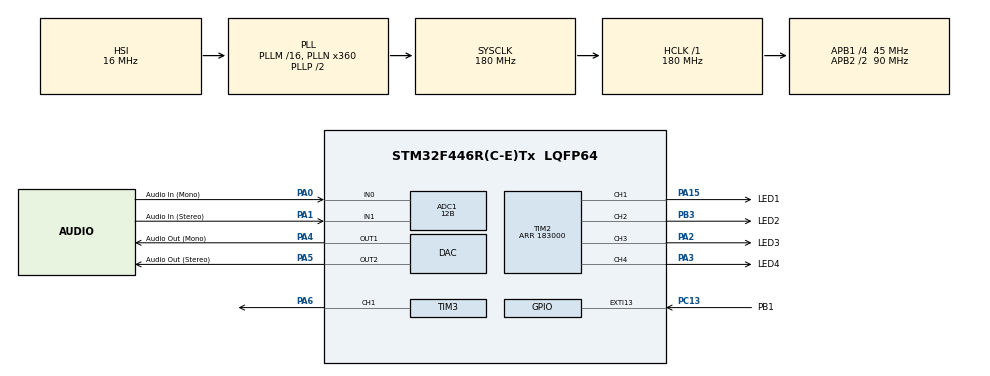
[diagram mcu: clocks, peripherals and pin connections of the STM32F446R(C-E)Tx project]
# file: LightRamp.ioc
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ADC1.Channel-0\#ChannelRegularConversion=ADC_CHANNEL_0
ADC1.ClockPrescaler=ADC_CLOCK_SYNC_PCLK_DIV4
ADC1.ContinuousConvMode=DISABLE
ADC1.DMAContinuousRequests=ENABLE
ADC1.DataAlign=ADC_DATAALIGN_LEFT
ADC1.DiscontinuousConvMode=DISABLE
ADC1.EOCSelection=ADC_EOC_SINGLE_CONV
ADC1.EnableAnalogWatchDog=false
ADC1.ExternalTrigConv=ADC_EXTERNALTRIGCONV_T3_TRGO
ADC1.ExternalTrigConvEdge=ADC_EXTERNALTRIGCONVEDGE_RISING
ADC1.InjNumberOfConversion=0
ADC1.NbrOfConversion=1
ADC1.NbrOfConversionFlag=1
ADC1.Rank-0\#ChannelRegularConversion=1
ADC1.Resolution=ADC_RESOLUTION_12B
ADC1.SamplingTime-0\#ChannelRegularConversion=ADC_SAMPLETIME_3CYCLES
ADC1.ScanConvMode=DISABLE
ADC1.master=1
Dma.ADC1.0.Direction=DMA_PERIPH_TO_MEMORY
Dma.ADC1.0.FIFOMode=DMA_FIFOMODE_DISABLE
Dma.ADC1.0.Instance=DMA2_Stream0
Dma.ADC1.0.MemDataAlignment=DMA_MDATAALIGN_WORD
Dma.ADC1.0.MemInc=DMA_MINC_ENABLE
Dma.ADC1.0.Mode=DMA_CIRCULAR
Dma.ADC1.0.PeriphDataAlignment=DMA_PDATAALIGN_WORD
Dma.ADC1.0.PeriphInc=DMA_PINC_DISABLE
Dma.ADC1.0.Priority=DMA_PRIORITY_HIGH
Dma.Request0=ADC1
Mcu.Family=STM32F4
Mcu.Name=STM32F446R(C-E)Tx
Mcu.Package=LQFP64
NVIC.ADC_IRQn=true\:0\:0\:false\:false\:true\:true\:true
NVIC.DMA2_Stream0_IRQn=true\:0\:0\:false\:false\:true\:false\:true
NVIC.EXTI15_10_IRQn=true\:0\:0\:false\:false\:true\:true\:true
NVIC.PriorityGroup=NVIC_PRIORITYGROUP_4
PA0-WKUP.GPIO_Label=Audio In (Mono)
PA0-WKUP.Signal=ADCx_IN0
PA1.GPIO_Label=Audio In (Stereo)
PA1.Signal=ADCx_IN1
PA15.GPIO_Label=LED1
PA15.GPIO_Speed=GPIO_SPEED_FREQ_VERY_HIGH
PA15.Signal=S_TIM2_CH1_ETR
PA2.GPIO_Label=LED3
PA2.GPIO_Speed=GPIO_SPEED_FREQ_VERY_HIGH
PA2.Signal=S_TIM2_CH3
PA3.GPIO_Label=LED4
PA3.GPIO_Speed=GPIO_SPEED_FREQ_VERY_HIGH
PA3.Signal=S_TIM2_CH4
PA4.GPIO_Label=Audio Out (Mono)
PA4.Signal=COMP_DAC1_group
PA5.GPIO_Label=Audio Out (Stereo)
PA5.Signal=COMP_DAC2_group
PA6.Signal=S_TIM3_CH1
PB3.GPIO_Label=LED2
PB3.GPIO_Speed=GPIO_SPEED_FREQ_VERY_HIGH
PB3.Signal=S_TIM2_CH2
PC13.GPIO_Label=PB1
PC13.GPIO_PuPd=GPIO_PULLDOWN
PC13.Signal=GPXTI13
ProjectManager.HeapSize=0x200
ProjectManager.StackSize=0x400
ProjectManager.TargetToolchain=SW4STM32
RCC.AHBFreq_Value=180000000
RCC.APB1CLKDivider=RCC_HCLK_DIV4
RCC.APB1Freq_Value=45000000
RCC.APB1TimFreq_Value=90000000
RCC.APB2CLKDivider=RCC_HCLK_DIV2
RCC.APB2Freq_Value=90000000
RCC.APB2TimFreq_Value=180000000
RCC.CortexFreq_Value=180000000
RCC.HCLKFreq_Value=180000000
RCC.PLLN=360
RCC.SYSCLKFreq_VALUE=180000000
RCC.SYSCLKSource=RCC_SYSCLKSOURCE_PLLCLK
RCC.USBFreq_Value=180000000
RCC.VCOOutputFreq_Value=360000000
SH.ADCx_IN0.0=ADC1_IN0,IN0
SH.ADCx_IN1.0=ADC1_IN1,IN1
SH.COMP_DAC1_group.0=DAC_OUT1,DAC_OUT1
SH.COMP_DAC2_group.0=DAC_OUT2,DAC_OUT2
SH.S_TIM2_CH1_ETR.0=TIM2_CH1,PWM Generation1 CH1
SH.S_TIM2_CH2.0=TIM2_CH2,PWM Generation2 CH2
SH.S_TIM2_CH3.0=TIM2_CH3,PWM Generation3 CH3
SH.S_TIM2_CH4.0=TIM2_CH4,PWM Generation4 CH4
SH.S_TIM3_CH1.0=TIM3_CH1,PWM Generation1 CH1
TIM2.Channel-PWM\ Generation1\ CH1=TIM_CHANNEL_1
TIM2.Channel-PWM\ Generation2\ CH2=TIM_CHANNEL_2
TIM2.Channel-PWM\ Generation3\ CH3=TIM_CHANNEL_3
TIM2.Channel-PWM\ Generation4\ CH4=TIM_CHANNEL_4
TIM2.OCFastMode_PWM-PWM\ Generation1\ CH1=TIM_OCFAST_ENABLE
TIM2.OCFastMode_PWM-PWM\ Generation2\ CH2=TIM_OCFAST_ENABLE
TIM2.OCFastMode_PWM-PWM\ Generation3\ CH3=TIM_OCFAST_ENABLE
TIM2.OCFastMode_PWM-PWM\ Generation4\ CH4=TIM_OCFAST_ENABLE
TIM2.Period=183000
TIM3.Channel-PWM\ Generation1\ CH1=TIM_CHANNEL_1
TIM3.Period=1900
TIM3.Pulse-PWM\ Generation1\ CH1=950
TIM3.TIM_MasterOutputTrigger=TIM_TRGO_UPDATE
TIM3.TIM_MasterSlaveMode=TIM_MASTERSLAVEMODE_DISABLE
VP_TIM3_VS_ClockSourceINT.Mode=Internal
board=LightRamp

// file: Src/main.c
/* USER CODE BEGIN Header */
/**
  ******************************************************************************
  * @file           : main.c
  * @brief          : Main program body
  ******************************************************************************
  * @attention
  *
  * <h2><center>&copy; Copyright (c) 2020 STMicroelectronics.
  * All rights reserved.</center></h2>
  *
  * This software component is licensed by ST under BSD 3-Clause license,
  * the "License"; You may not use this file except in compliance with the
  * License. You may obtain a copy of the License at:
  *                        opensource.org/licenses/BSD-3-Clause
  *
  ******************************************************************************
  */
/* USER CODE END Header */
#include "main.h"

/* USER CODE BEGIN Includes */
#include "biquad.h"
#include "lightramp.h"
#include "running_mean.h"

/* USER CODE END Includes */

/* USER CODE BEGIN PM */
#define RUNNING_MEAN_LEN    100

/* USER CODE END PM */

ADC_HandleTypeDef hadc1;
DMA_HandleTypeDef hdma_adc1;

DAC_HandleTypeDef hdac;

TIM_HandleTypeDef htim2;
TIM_HandleTypeDef htim3;

/* USER CODE BEGIN PV */
/* Private variables ---------------------------------------------------------*/
float32_t *input,
          *output_lo,
          *output_lo_mid,
          *output_mid_hi,
          *output_hi;

float32_t *running_mean_array_lo,
		  *running_mean_array_lo_mid,
		  *running_mean_array_mid_hi,
		  *running_mean_array_hi;

float32_t mean_lo,
          mean_lo_mid,
          mean_mid_hi,
          mean_hi;

uint32_t brightness_lo,
         brightness_lo_mid,
         brightness_mid_hi,
         brightness_hi;

float brightness_global = 0.01f;

/* USER CODE END PV */

void SystemClock_Config(void);
static void MX_GPIO_Init(void);
static void MX_DMA_Init(void);
static void MX_ADC1_Init(void);
static void MX_TIM2_Init(void);
static void MX_DAC_Init(void);
static void MX_TIM3_Init(void);
/* USER CODE BEGIN PFP */
/* Private function prototypes -----------------------------------------------*/
void adjust_brightness (uint32_t channel, uint32_t val);

/* USER CODE END PFP */

int main(void)
{

  /* MCU Configuration--------------------------------------------------------*/

  /* Reset of all peripherals, Initializes the Flash interface and the Systick. */
  HAL_Init();

  /* Configure the system clock */
  SystemClock_Config();

  /* Initialize all configured peripherals */
  MX_GPIO_Init();
  MX_DMA_Init();
  MX_ADC1_Init();
  MX_TIM2_Init();
  MX_DAC_Init();
  MX_TIM3_Init();
  /* USER CODE BEGIN 2 */

  lightramp_init();
  running_mean_t * running_mean_lo     = running_mean_init(RUNNING_MEAN_LEN, BLOCKSIZE);
  running_mean_t * running_mean_lo_mid = running_mean_init(RUNNING_MEAN_LEN, BLOCKSIZE);
  running_mean_t * running_mean_mid_hi = running_mean_init(RUNNING_MEAN_LEN, BLOCKSIZE);
  running_mean_t * running_mean_hi     = running_mean_init(RUNNING_MEAN_LEN, BLOCKSIZE);

  /* Set initial brightness off all LEDs to none */
  for (uint8_t i = 0; i < NUM_LEDS; i++) {
      adjust_brightness(LED[i], 0);
  }

  /* Set up biquad IIR filter structures */
  bq_filt_init_all();

  /* Allocate memory buffers for input block and filtered output blocks */
  input         = (float32_t *)malloc(sizeof(float32_t) * nsamp);
  output_lo     = (float32_t *)malloc(sizeof(float32_t) * nsamp);
  output_lo_mid = (float32_t *)malloc(sizeof(float32_t) * nsamp);
  output_mid_hi = (float32_t *)malloc(sizeof(float32_t) * nsamp);
  output_hi     = (float32_t *)malloc(sizeof(float32_t) * nsamp);

  running_mean_array_lo     = (float32_t *)malloc(sizeof(float32_t) * nsamp);
  running_mean_array_lo_mid = (float32_t *)malloc(sizeof(float32_t) * nsamp);
  running_mean_array_mid_hi = (float32_t *)malloc(sizeof(float32_t) * nsamp);
  running_mean_array_hi     = (float32_t *)malloc(sizeof(float32_t) * nsamp);

  /* USER CODE END 2 */

  /* Infinite loop */
  while (1)
  {

    /* USER CODE BEGIN 3 */
      /* Check to see if the button was pressed since last processed block; if so, wait until pressed again */
      if (!led_enable) {
    	  /* Turn off LEDs */
          adjust_brightness(LED[0], 0);
          adjust_brightness(LED[1], 0);
          adjust_brightness(LED[2], 0);
          adjust_brightness(LED[3], 0);

          while (!led_enable) {
              __WFI();    /* Wait for user button push */
          }
      }

      /* Acquire a block of raw input samples */
      getblock(input);

      /* Filter the raw input block into each respective output block */
      bq_do_filter(&bq_filter_lo,     input, output_lo,     nsamp);
      bq_do_filter(&bq_filter_lo_mid, input, output_lo_mid, nsamp);
      bq_do_filter(&bq_filter_mid_hi, input, output_mid_hi, nsamp);
      bq_do_filter(&bq_filter_hi,     input, output_hi,     nsamp);

      /* Transform each filtered output block into absolute values */
      bq_do_abs(output_lo,     output_lo,     nsamp);
      bq_do_abs(output_lo_mid, output_lo_mid, nsamp);
      bq_do_abs(output_mid_hi, output_mid_hi, nsamp);
      bq_do_abs(output_hi,     output_hi,     nsamp);

      /* Do running mean calculation on each filtered block */
      running_mean_calc(running_mean_lo,     output_lo,     running_mean_array_lo);
      running_mean_calc(running_mean_lo_mid, output_lo_mid, running_mean_array_lo_mid);
      running_mean_calc(running_mean_mid_hi, output_mid_hi, running_mean_array_mid_hi);
      running_mean_calc(running_mean_hi,     output_hi,     running_mean_array_hi);

      /* Calculate mean value of each filtered and transformed output block */
      bq_do_mean(running_mean_array_lo,     nsamp, &mean_lo);
      bq_do_mean(running_mean_array_lo_mid, nsamp, &mean_lo_mid);
      bq_do_mean(running_mean_array_mid_hi, nsamp, &mean_mid_hi);
      bq_do_mean(running_mean_array_hi,     nsamp, &mean_hi);

      /* Normalize each band's mean value to the input mean to get brightness values */
      brightness_lo     = lightramp_calc_gamma(5.0, brightness_global, mean_lo     * 0xFFFFFFFF);
      brightness_lo_mid = lightramp_calc_gamma(5.0, brightness_global, mean_lo_mid * 0xFFFFFFFF);
      brightness_mid_hi = lightramp_calc_gamma(5.0, brightness_global, mean_mid_hi * 0xFFFFFFFF);
      brightness_hi     = lightramp_calc_gamma(5.0, brightness_global, mean_hi     * 0xFFFFFFFF);

      /* Adjust individual LED dimming based on mean values of each frequency band */
	  adjust_brightness(LED[0], brightness_lo);
	  adjust_brightness(LED[1], brightness_lo_mid);
	  adjust_brightness(LED[2], brightness_mid_hi);
	  adjust_brightness(LED[3], brightness_hi);
  }
  /* USER CODE END 3 */
}

void SystemClock_Config(void)
{
  RCC_OscInitTypeDef RCC_OscInitStruct = {0};
  RCC_ClkInitTypeDef RCC_ClkInitStruct = {0};

  /** Configure the main internal regulator output voltage
  */
  __HAL_RCC_PWR_CLK_ENABLE();
  __HAL_PWR_VOLTAGESCALING_CONFIG(PWR_REGULATOR_VOLTAGE_SCALE1);
  /** Initializes the RCC Oscillators according to the specified parameters
  * in the RCC_OscInitTypeDef structure.
  */
  RCC_OscInitStruct.OscillatorType = RCC_OSCILLATORTYPE_HSI;
  RCC_OscInitStruct.HSIState = RCC_HSI_ON;
  RCC_OscInitStruct.HSICalibrationValue = RCC_HSICALIBRATION_DEFAULT;
  RCC_OscInitStruct.PLL.PLLState = RCC_PLL_ON;
  RCC_OscInitStruct.PLL.PLLSource = RCC_PLLSOURCE_HSI;
  RCC_OscInitStruct.PLL.PLLM = 16;
  RCC_OscInitStruct.PLL.PLLN = 360;
  RCC_OscInitStruct.PLL.PLLP = RCC_PLLP_DIV2;
  RCC_OscInitStruct.PLL.PLLQ = 2;
  RCC_OscInitStruct.PLL.PLLR = 2;
  if (HAL_RCC_OscConfig(&RCC_OscInitStruct) != HAL_OK)
  {
    Error_Handler();
  }
  /** Activate the Over-Drive mode
  */
  if (HAL_PWREx_EnableOverDrive() != HAL_OK)
  {
    Error_Handler();
  }
  /** Initializes the CPU, AHB and APB buses clocks
  */
  RCC_ClkInitStruct.ClockType = RCC_CLOCKTYPE_HCLK|RCC_CLOCKTYPE_SYSCLK
                              |RCC_CLOCKTYPE_PCLK1|RCC_CLOCKTYPE_PCLK2;
  RCC_ClkInitStruct.SYSCLKSource = RCC_SYSCLKSOURCE_PLLCLK;
  RCC_ClkInitStruct.AHBCLKDivider = RCC_SYSCLK_DIV1;
  RCC_ClkInitStruct.APB1CLKDivider = RCC_HCLK_DIV4;
  RCC_ClkInitStruct.APB2CLKDivider = RCC_HCLK_DIV2;

  if (HAL_RCC_ClockConfig(&RCC_ClkInitStruct, FLASH_LATENCY_5) != HAL_OK)
  {
    Error_Handler();
  }
}

static void MX_ADC1_Init(void)
{

  ADC_ChannelConfTypeDef sConfig = {0};

  /** Configure the global features of the ADC (Clock, Resolution, Data Alignment and number of conversion)
  */
  hadc1.Instance = ADC1;
  hadc1.Init.ClockPrescaler = ADC_CLOCK_SYNC_PCLK_DIV4;
  hadc1.Init.Resolution = ADC_RESOLUTION_12B;
  hadc1.Init.ScanConvMode = DISABLE;
  hadc1.Init.ContinuousConvMode = DISABLE;
  hadc1.Init.DiscontinuousConvMode = DISABLE;
  hadc1.Init.ExternalTrigConvEdge = ADC_EXTERNALTRIGCONVEDGE_RISING;
  hadc1.Init.ExternalTrigConv = ADC_EXTERNALTRIGCONV_T3_TRGO;
  hadc1.Init.DataAlign = ADC_DATAALIGN_LEFT;
  hadc1.Init.NbrOfConversion = 1;
  hadc1.Init.DMAContinuousRequests = ENABLE;
  hadc1.Init.EOCSelection = ADC_EOC_SINGLE_CONV;
  if (HAL_ADC_Init(&hadc1) != HAL_OK)
  {
    Error_Handler();
  }
  /** Configure for the selected ADC regular channel its corresponding rank in the sequencer and its sample time.
  */
  sConfig.Channel = ADC_CHANNEL_0;
  sConfig.Rank = 1;
  sConfig.SamplingTime = ADC_SAMPLETIME_3CYCLES;
  if (HAL_ADC_ConfigChannel(&hadc1, &sConfig) != HAL_OK)
  {
    Error_Handler();
  }

}

static void MX_DAC_Init(void)
{

  DAC_ChannelConfTypeDef sConfig = {0};

  /** DAC Initialization
  */
  hdac.Instance = DAC;
  if (HAL_DAC_Init(&hdac) != HAL_OK)
  {
    Error_Handler();
  }
  /** DAC channel OUT1 config
  */
  sConfig.DAC_Trigger = DAC_TRIGGER_NONE;
  sConfig.DAC_OutputBuffer = DAC_OUTPUTBUFFER_ENABLE;
  if (HAL_DAC_ConfigChannel(&hdac, &sConfig, DAC_CHANNEL_1) != HAL_OK)
  {
    Error_Handler();
  }
  /** DAC channel OUT2 config
  */
  if (HAL_DAC_ConfigChannel(&hdac, &sConfig, DAC_CHANNEL_2) != HAL_OK)
  {
    Error_Handler();
  }

}

static void MX_TIM2_Init(void)
{

  TIM_MasterConfigTypeDef sMasterConfig = {0};
  TIM_OC_InitTypeDef sConfigOC = {0};

  htim2.Instance = TIM2;
  htim2.Init.Prescaler = 0;
  htim2.Init.CounterMode = TIM_COUNTERMODE_UP;
  htim2.Init.Period = 183000;
  htim2.Init.ClockDivision = TIM_CLOCKDIVISION_DIV1;
  htim2.Init.AutoReloadPreload = TIM_AUTORELOAD_PRELOAD_DISABLE;
  if (HAL_TIM_PWM_Init(&htim2) != HAL_OK)
  {
    Error_Handler();
  }
  sMasterConfig.MasterOutputTrigger = TIM_TRGO_RESET;
  sMasterConfig.MasterSlaveMode = TIM_MASTERSLAVEMODE_DISABLE;
  if (HAL_TIMEx_MasterConfigSynchronization(&htim2, &sMasterConfig) != HAL_OK)
  {
    Error_Handler();
  }
  sConfigOC.OCMode = TIM_OCMODE_PWM1;
  sConfigOC.Pulse = 0;
  sConfigOC.OCPolarity = TIM_OCPOLARITY_HIGH;
  sConfigOC.OCFastMode = TIM_OCFAST_ENABLE;
  if (HAL_TIM_PWM_ConfigChannel(&htim2, &sConfigOC, TIM_CHANNEL_1) != HAL_OK)
  {
    Error_Handler();
  }
  if (HAL_TIM_PWM_ConfigChannel(&htim2, &sConfigOC, TIM_CHANNEL_2) != HAL_OK)
  {
    Error_Handler();
  }
  if (HAL_TIM_PWM_ConfigChannel(&htim2, &sConfigOC, TIM_CHANNEL_3) != HAL_OK)
  {
    Error_Handler();
  }
  if (HAL_TIM_PWM_ConfigChannel(&htim2, &sConfigOC, TIM_CHANNEL_4) != HAL_OK)
  {
    Error_Handler();
  }
  HAL_TIM_MspPostInit(&htim2);

}

static void MX_TIM3_Init(void)
{

  TIM_ClockConfigTypeDef sClockSourceConfig = {0};
  TIM_MasterConfigTypeDef sMasterConfig = {0};
  TIM_OC_InitTypeDef sConfigOC = {0};

  htim3.Instance = TIM3;
  htim3.Init.Prescaler = 0;
  htim3.Init.CounterMode = TIM_COUNTERMODE_UP;
  htim3.Init.Period = 1900;
  htim3.Init.ClockDivision = TIM_CLOCKDIVISION_DIV1;
  htim3.Init.AutoReloadPreload = TIM_AUTORELOAD_PRELOAD_DISABLE;
  if (HAL_TIM_Base_Init(&htim3) != HAL_OK)
  {
    Error_Handler();
  }
  sClockSourceConfig.ClockSource = TIM_CLOCKSOURCE_INTERNAL;
  if (HAL_TIM_ConfigClockSource(&htim3, &sClockSourceConfig) != HAL_OK)
  {
    Error_Handler();
  }
  if (HAL_TIM_PWM_Init(&htim3) != HAL_OK)
  {
    Error_Handler();
  }
  sMasterConfig.MasterOutputTrigger = TIM_TRGO_UPDATE;
  sMasterConfig.MasterSlaveMode = TIM_MASTERSLAVEMODE_DISABLE;
  if (HAL_TIMEx_MasterConfigSynchronization(&htim3, &sMasterConfig) != HAL_OK)
  {
    Error_Handler();
  }
  sConfigOC.OCMode = TIM_OCMODE_PWM1;
  sConfigOC.Pulse = 950;
  sConfigOC.OCPolarity = TIM_OCPOLARITY_HIGH;
  sConfigOC.OCFastMode = TIM_OCFAST_DISABLE;
  if (HAL_TIM_PWM_ConfigChannel(&htim3, &sConfigOC, TIM_CHANNEL_1) != HAL_OK)
  {
    Error_Handler();
  }
  HAL_TIM_MspPostInit(&htim3);

}

static void MX_DMA_Init(void)
{

  /* DMA controller clock enable */
  __HAL_RCC_DMA2_CLK_ENABLE();

  /* DMA interrupt init */
  /* DMA2_Stream0_IRQn interrupt configuration */
  HAL_NVIC_SetPriority(DMA2_Stream0_IRQn, 1, 0);
  HAL_NVIC_EnableIRQ(DMA2_Stream0_IRQn);

}

static void MX_GPIO_Init(void)
{
  GPIO_InitTypeDef GPIO_InitStruct = {0};

  /* GPIO Ports Clock Enable */
  __HAL_RCC_GPIOC_CLK_ENABLE();
  __HAL_RCC_GPIOA_CLK_ENABLE();
  __HAL_RCC_GPIOB_CLK_ENABLE();

  /*Configure GPIO pin : PB1_Pin */
  GPIO_InitStruct.Pin = PB1_Pin;
  GPIO_InitStruct.Mode = GPIO_MODE_IT_RISING;
  GPIO_InitStruct.Pull = GPIO_NOPULL;
  HAL_GPIO_Init(PB1_GPIO_Port, &GPIO_InitStruct);

  /* EXTI interrupt init*/
  HAL_NVIC_SetPriority(EXTI15_10_IRQn, 0, 0);
  HAL_NVIC_EnableIRQ(EXTI15_10_IRQn);

}

/* USER CODE BEGIN 4 */

/* Set compare-capture value to given channel of TIM2 to adjust individual LED PWM dimming level */
void
adjust_brightness(uint32_t channel, uint32_t val) {
    __HAL_TIM_SET_COMPARE(H_LED_TIM, channel, val);
}

/* USER CODE END 4 */

void Error_Handler(void)
{
  while(1)
  {
  }
}

/************************ (C) COPYRIGHT STMicroelectronics *****END OF FILE****/
